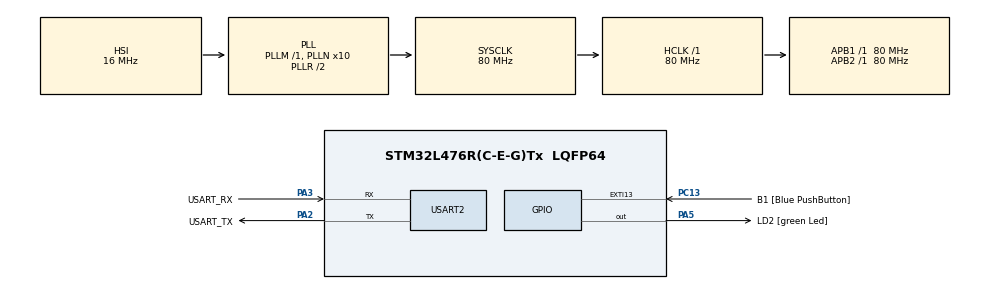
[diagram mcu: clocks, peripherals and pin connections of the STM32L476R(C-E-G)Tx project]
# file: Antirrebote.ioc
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Mcu.Family=STM32L4
Mcu.Name=STM32L476R(C-E-G)Tx
Mcu.Package=LQFP64
NVIC.PriorityGroup=NVIC_PRIORITYGROUP_4
PA13\ (JTMS-SWDIO).GPIO_Label=TMS
PA13\ (JTMS-SWDIO).Mode=Serial_Wire
PA13\ (JTMS-SWDIO).Signal=SYS_JTMS-SWDIO
PA14\ (JTCK-SWCLK).GPIO_Label=TCK
PA14\ (JTCK-SWCLK).Mode=Serial_Wire
PA14\ (JTCK-SWCLK).Signal=SYS_JTCK-SWCLK
PA2.GPIO_Label=USART_TX
PA2.GPIO_Mode=GPIO_MODE_AF_PP
PA2.GPIO_PuPd=GPIO_NOPULL
PA2.GPIO_Speed=GPIO_SPEED_FREQ_VERY_HIGH
PA2.Mode=Asynchronous
PA2.Signal=USART2_TX
PA3.GPIO_Label=USART_RX
PA3.GPIO_Mode=GPIO_MODE_AF_PP
PA3.GPIO_PuPd=GPIO_NOPULL
PA3.GPIO_Speed=GPIO_SPEED_FREQ_VERY_HIGH
PA3.Mode=Asynchronous
PA3.Signal=USART2_RX
PA5.GPIO_Label=LD2 [green Led]
PA5.GPIO_ModeDefaultOutputPP=GPIO_MODE_OUTPUT_PP
PA5.GPIO_PuPd=GPIO_NOPULL
PA5.GPIO_Speed=GPIO_SPEED_FREQ_LOW
PA5.Signal=GPIO_Output
PB3\ (JTDO-TRACESWO).GPIO_Label=SWO
PB3\ (JTDO-TRACESWO).Signal=SYS_JTDO-SWO
PC13.GPIO_Label=B1 [Blue PushButton]
PC13.GPIO_ModeDefaultEXTI=GPIO_MODE_IT_FALLING
PC13.GPIO_PuPd=GPIO_NOPULL
PC13.Signal=GPXTI13
PC14-OSC32_IN\ (PC14).Mode=LSE-External-Oscillator
PC14-OSC32_IN\ (PC14).Signal=RCC_OSC32_IN
PC15-OSC32_OUT\ (PC15).Mode=LSE-External-Oscillator
PC15-OSC32_OUT\ (PC15).Signal=RCC_OSC32_OUT
PH0-OSC_IN\ (PH0).Signal=RCC_OSC_IN
PH1-OSC_OUT\ (PH1).Signal=RCC_OSC_OUT
ProjectManager.HeapSize=0x200
ProjectManager.StackSize=0x400
ProjectManager.TargetToolchain=STM32CubeIDE
RCC.ADCFreq_Value=64000000
RCC.AHBFreq_Value=80000000
RCC.APB1Freq_Value=80000000
RCC.APB1TimFreq_Value=80000000
RCC.APB2Freq_Value=80000000
RCC.APB2TimFreq_Value=80000000
RCC.CortexFreq_Value=80000000
RCC.HCLKFreq_Value=80000000
RCC.HSE_VALUE=8000000
RCC.HSI_VALUE=16000000
RCC.MSI_VALUE=4000000
RCC.PLLN=10
RCC.PLLSourceVirtual=RCC_PLLSOURCE_HSI
RCC.PREFETCH_ENABLE=1
RCC.SYSCLKFreq_VALUE=80000000
RCC.SYSCLKSource=RCC_SYSCLKSOURCE_PLLCLK
RCC.USBFreq_Value=64000000
RCC.VCOOutputFreq_Value=160000000
USART2.VirtualMode-Asynchronous=VM_ASYNC
board=NUCLEO-L476RG

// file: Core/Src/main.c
/* USER CODE BEGIN Header */
/**
  ******************************************************************************
  * @file           : main.c
  * @brief          : Main program body
  ******************************************************************************
  * @attention
  *
  * <h2><center>&copy; Copyright (c) 2020 STMicroelectronics.
  * All rights reserved.</center></h2>
  *
  * This software component is licensed by ST under BSD 3-Clause license,
  * the "License"; You may not use this file except in compliance with the
  * License. You may obtain a copy of the License at:
  *                        opensource.org/licenses/BSD-3-Clause
  *
  ******************************************************************************
  */
/* USER CODE END Header */

#include "main.h"

UART_HandleTypeDef huart2;

void SystemClock_Config(void);
static void MX_GPIO_Init(void);
static void MX_USART2_UART_Init(void);

int main(void)
{
  /* USER CODE BEGIN 1 */
	estado_actual=Esperando;
	tick_time=0;
	tick_cont=0;
	flag=0;
  /* USER CODE END 1 */

  /* MCU Configuration--------------------------------------------------------*/

  /* Reset of all peripherals, Initializes the Flash interface and the Systick. */
  HAL_Init();

  /* Configure the system clock */
  SystemClock_Config();

  /* Initialize all configured peripherals */
  MX_GPIO_Init();
  MX_USART2_UART_Init();

  /* Infinite loop */
  /* USER CODE BEGIN WHILE */
  while (1)
  {
	  if (flag==1)
		  {
			  switch (estado_actual)
			  {
			  case(Esperando):
					  if(!(HAL_GPIO_ReadPin(B1_GPIO_Port, B1_Pin)))
						  {
						  estado_actual=Detectado;
						  contador=0;
						}
				break;
				case(Detectado):
						if (!(HAL_GPIO_ReadPin(B1_GPIO_Port, B1_Pin)))
						{
							contador++;
							if(contador>=100)
							{
								estado_actual=Esperandosoltar;
								contador=0;
							}
						}
						else
						{
						estado_actual=Esperando;
						contador=0;
						}
					break;
			case(Esperandosoltar):
					if(HAL_GPIO_ReadPin(B1_GPIO_Port, B1_Pin))
					{
						estado_actual=Actualizar;
					}
					break;
			case(Actualizar):
					estado_actual=Esperando;
					HAL_GPIO_TogglePin(LD2_GPIO_Port, LD2_Pin);
					break;
				}
			flag=0;
		}
    /* USER CODE END WHILE */
  }
}

void SystemClock_Config(void)
{
  RCC_OscInitTypeDef RCC_OscInitStruct = {0};
  RCC_ClkInitTypeDef RCC_ClkInitStruct = {0};
  RCC_PeriphCLKInitTypeDef PeriphClkInit = {0};

  /** Initializes the CPU, AHB and APB busses clocks
  */
  RCC_OscInitStruct.OscillatorType = RCC_OSCILLATORTYPE_HSI;
  RCC_OscInitStruct.HSIState = RCC_HSI_ON;
  RCC_OscInitStruct.HSICalibrationValue = RCC_HSICALIBRATION_DEFAULT;
  RCC_OscInitStruct.PLL.PLLState = RCC_PLL_ON;
  RCC_OscInitStruct.PLL.PLLSource = RCC_PLLSOURCE_HSI;
  RCC_OscInitStruct.PLL.PLLM = 1;
  RCC_OscInitStruct.PLL.PLLN = 10;
  RCC_OscInitStruct.PLL.PLLP = RCC_PLLP_DIV7;
  RCC_OscInitStruct.PLL.PLLQ = RCC_PLLQ_DIV2;
  RCC_OscInitStruct.PLL.PLLR = RCC_PLLR_DIV2;
  if (HAL_RCC_OscConfig(&RCC_OscInitStruct) != HAL_OK)
  {
    Error_Handler();
  }
  /** Initializes the CPU, AHB and APB busses clocks
  */
  RCC_ClkInitStruct.ClockType = RCC_CLOCKTYPE_HCLK|RCC_CLOCKTYPE_SYSCLK
                              |RCC_CLOCKTYPE_PCLK1|RCC_CLOCKTYPE_PCLK2;
  RCC_ClkInitStruct.SYSCLKSource = RCC_SYSCLKSOURCE_PLLCLK;
  RCC_ClkInitStruct.AHBCLKDivider = RCC_SYSCLK_DIV1;
  RCC_ClkInitStruct.APB1CLKDivider = RCC_HCLK_DIV1;
  RCC_ClkInitStruct.APB2CLKDivider = RCC_HCLK_DIV1;

  if (HAL_RCC_ClockConfig(&RCC_ClkInitStruct, FLASH_LATENCY_4) != HAL_OK)
  {
    Error_Handler();
  }
  PeriphClkInit.PeriphClockSelection = RCC_PERIPHCLK_USART2;
  PeriphClkInit.Usart2ClockSelection = RCC_USART2CLKSOURCE_PCLK1;
  if (HAL_RCCEx_PeriphCLKConfig(&PeriphClkInit) != HAL_OK)
  {
    Error_Handler();
  }
  /** Configure the main internal regulator output voltage
  */
  if (HAL_PWREx_ControlVoltageScaling(PWR_REGULATOR_VOLTAGE_SCALE1) != HAL_OK)
  {
    Error_Handler();
  }
}

static void MX_USART2_UART_Init(void)
{

  huart2.Instance = USART2;
  huart2.Init.BaudRate = 115200;
  huart2.Init.WordLength = UART_WORDLENGTH_8B;
  huart2.Init.StopBits = UART_STOPBITS_1;
  huart2.Init.Parity = UART_PARITY_NONE;
  huart2.Init.Mode = UART_MODE_TX_RX;
  huart2.Init.HwFlowCtl = UART_HWCONTROL_NONE;
  huart2.Init.OverSampling = UART_OVERSAMPLING_16;
  huart2.Init.OneBitSampling = UART_ONE_BIT_SAMPLE_DISABLE;
  huart2.AdvancedInit.AdvFeatureInit = UART_ADVFEATURE_NO_INIT;
  if (HAL_UART_Init(&huart2) != HAL_OK)
  {
    Error_Handler();
  }

}

static void MX_GPIO_Init(void)
{
  GPIO_InitTypeDef GPIO_InitStruct = {0};

  /* GPIO Ports Clock Enable */
  __HAL_RCC_GPIOC_CLK_ENABLE();
  __HAL_RCC_GPIOH_CLK_ENABLE();
  __HAL_RCC_GPIOA_CLK_ENABLE();
  __HAL_RCC_GPIOB_CLK_ENABLE();

  /*Configure GPIO pin Output Level */
  HAL_GPIO_WritePin(LD2_GPIO_Port, LD2_Pin, GPIO_PIN_RESET);

  /*Configure GPIO pin : B1_Pin */
  GPIO_InitStruct.Pin = B1_Pin;
  GPIO_InitStruct.Mode = GPIO_MODE_IT_FALLING;
  GPIO_InitStruct.Pull = GPIO_NOPULL;
  HAL_GPIO_Init(B1_GPIO_Port, &GPIO_InitStruct);

  /*Configure GPIO pin : LD2_Pin */
  GPIO_InitStruct.Pin = LD2_Pin;
  GPIO_InitStruct.Mode = GPIO_MODE_OUTPUT_PP;
  GPIO_InitStruct.Pull = GPIO_NOPULL;
  GPIO_InitStruct.Speed = GPIO_SPEED_FREQ_LOW;
  HAL_GPIO_Init(LD2_GPIO_Port, &GPIO_InitStruct);

}

void Error_Handler(void)
{
}

/************************ (C) COPYRIGHT STMicroelectronics *****END OF FILE****/
